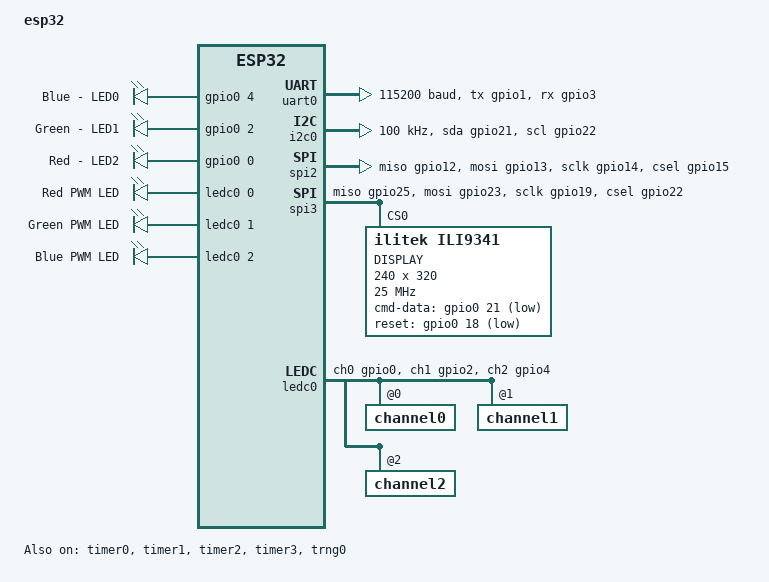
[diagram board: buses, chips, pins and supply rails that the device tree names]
/*
 * Copyright (c) 2021 Espressif Systems (Shanghai) Co., Ltd.
 *
 * SPDX-License-Identifier: Apache-2.0
 */
/dts-v1/;

#include <espressif/esp32.dtsi>
#include "esp_wrover_kit-pinctrl.dtsi"

/ {
	model = "esp32";
	compatible = "espressif,esp32";

	aliases {
		led0 = &blue_led;
		led1 = &green_led;
		led2 = &red_led;
		pwm-led0 = &pwm_led_red;
		pwm-led1 = &pwm_led_green;
		pwm-led2 = &pwm_led_blue;
		red-pwm-led = &pwm_led_red;
		green-pwm-led = &pwm_led_green;
		blue-pwm-led = &pwm_led_blue;
		uart-0 = &uart0;
		i2c-0 = &i2c0;
	};

	chosen {
		zephyr,sram = &sram0;
		zephyr,console = &uart0;
		zephyr,shell-uart = &uart0;
		zephyr,flash = &flash0;
		zephyr,display = &ili9341;
	};

	leds {
		compatible = "gpio-leds";

		blue_led: led_0 {
			gpios =  <&gpio0 4 GPIO_ACTIVE_HIGH>;
			label = "Blue - LED0";
		};

		green_led: led_1 {
			gpios =  <&gpio0 2 GPIO_ACTIVE_HIGH>;
			label = "Green - LED1";
		};

		red_led: led_2 {
			gpios =  <&gpio0 0 GPIO_ACTIVE_HIGH>;
			label = "Red - LED2";
		};
	};

	pwmleds {
		compatible = "pwm-leds";
		pwm_led_red: pwm_led_0 {
			label = "Red PWM LED";
			pwms = <&ledc0 0 PWM_HZ(100) PWM_POLARITY_NORMAL>;
		};
		pwm_led_green: pwm_led_1 {
			label = "Green PWM LED";
			pwms = <&ledc0 1 PWM_HZ(100) PWM_POLARITY_NORMAL>;
		};
		pwm_led_blue: pwm_led_2 {
			label = "Blue PWM LED";
			pwms = <&ledc0 2 PWM_HZ(100) PWM_POLARITY_NORMAL>;
		};
	};
};

&cpu0 {
	clock-frequency = <ESP32_CLK_CPU_240M>;
};

&cpu1 {
	clock-frequency = <ESP32_CLK_CPU_240M>;
};

&uart0 {
	status = "okay";
	current-speed = <115200>;
	pinctrl-0 = <&uart0_tx_gpio1 &uart0_rx_gpio3>;
	pinctrl-names = "default";
};

&gpio0 {
	status = "okay";
};

&gpio1 {
	status = "okay";
};

&i2c0 {
	status = "okay";
	clock-frequency = <I2C_BITRATE_STANDARD>;
	sda-pin = <21>;
	scl-pin = <22>;
	pinctrl-0 = <&i2c0_sda_gpio21 &i2c0_scl_gpio22>;
	pinctrl-names = "default";
};

&spi2 {
	#address-cells = <1>;
	#size-cells = <0>;
	status = "okay";
	pinctrl-0 = <&spim2_miso_gpio12 &spim2_mosi_gpio13
		     &spim2_sclk_gpio14 &spim2_csel_gpio15>;
	pinctrl-names = "default";
};

&spi3 {
	#address-cells = <1>;
	#size-cells = <0>;
	status = "okay";
	pinctrl-0 = <&spim3_miso_gpio25 &spim3_mosi_gpio23
		     &spim3_sclk_gpio19 &spim3_csel_gpio22>;
	pinctrl-names = "default";

	ili9341: ili9341@0 {
		compatible = "ilitek,ili9341";
		label = "DISPLAY";
		spi-max-frequency = <25000000>;
		reg = <0>;
		cmd-data-gpios = <&gpio0 21 GPIO_ACTIVE_LOW>;
		reset-gpios = <&gpio0 18 GPIO_ACTIVE_LOW>;
		pixel-format = <0>;
		rotation = <0>;
		width = <240>;
		height = <320>;
	};
};

&ledc0 {
	pinctrl-0 = <&ledc0_ch0_gpio0 &ledc0_ch1_gpio2 &ledc0_ch2_gpio4>;
	pinctrl-names = "default";
	status = "okay";
	#address-cells = <1>;
	#size-cells = <0>;
	channel0@0 {
		reg = <0x0>;
		timer = <0>;
	};
	channel1@1 {
		reg = <0x1>;
		timer = <1>;
	};
	channel2@2 {
		reg = <0x2>;
		timer = <2>;
	};
};

&timer0 {
	status = "okay";
};

&timer1 {
	status = "okay";
};

&timer2 {
	status = "okay";
};

&timer3 {
	status = "okay";
};

&trng0 {
	status = "okay";
};

&flash0 {
	status = "okay";
	partitions {
		compatible = "fixed-partitions";
		#address-cells = <1>;
		#size-cells = <1>;

		/* Reserve 60kB for the bootloader */
		boot_partition: partition@1000 {
			label = "mcuboot";
			reg = <0x00001000 0x0000F000>;
			read-only;
		};

		/* Reserve 1024kB for the application in slot 0 */
		slot0_partition: partition@10000 {
			label = "image-0";
			reg = <0x00010000 0x00100000>;
		};

		/* Reserve 1024kB for the application in slot 1 */
		slot1_partition: partition@110000 {
			label = "image-1";
			reg = <0x00110000 0x00100000>;
		};

		/* Reserve 256kB for the scratch partition */
		scratch_partition: partition@210000 {
			   label = "image-scratch";
			   reg = <0x00210000 0x00040000>;
		};

		storage_partition: partition@250000 {
			label = "storage";
			reg = <0x00250000 0x00006000>;
		};
	};
};
